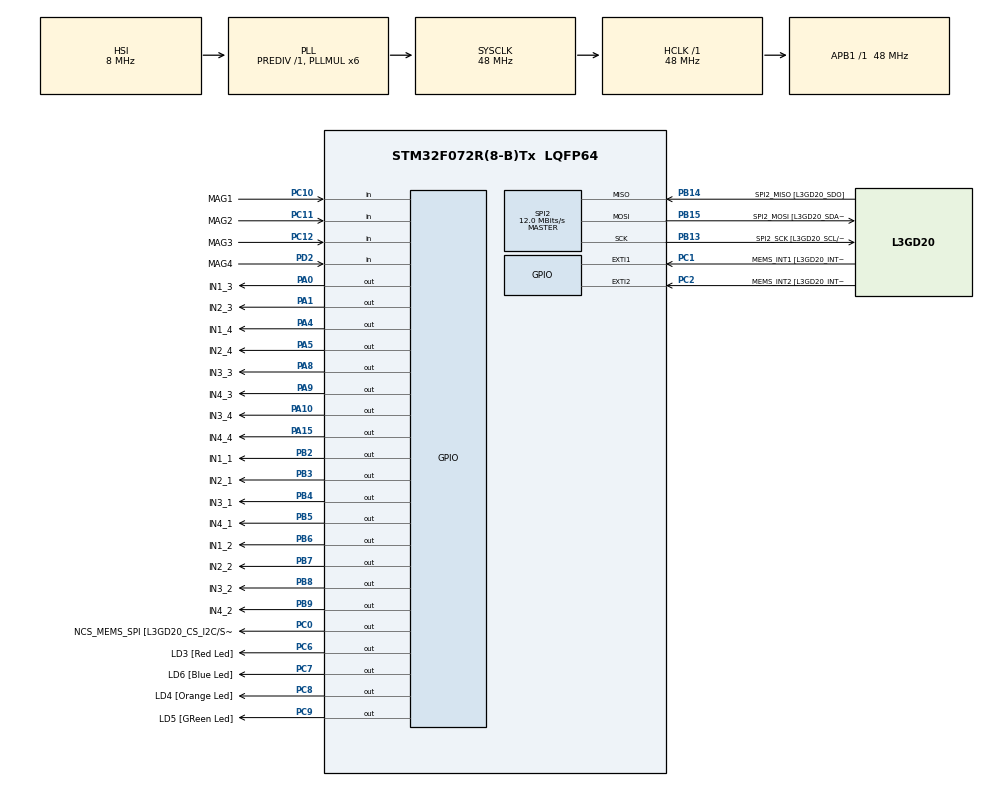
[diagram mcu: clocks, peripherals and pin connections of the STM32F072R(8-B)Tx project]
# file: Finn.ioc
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Mcu.Family=STM32F0
Mcu.Name=STM32F072R(8-B)Tx
Mcu.Package=LQFP64
PA0.GPIO_Label=IN1_3
PA0.Signal=GPIO_Output
PA1.GPIO_Label=IN2_3
PA1.Signal=GPIO_Output
PA10.GPIO_Label=IN3_4
PA10.Signal=GPIO_Output
PA13.Mode=Serial_Wire
PA13.Signal=SYS_SWDIO
PA14.Mode=Serial_Wire
PA14.Signal=SYS_SWCLK
PA15.GPIO_Label=IN4_4
PA15.Signal=GPIO_Output
PA4.GPIO_Label=IN1_4
PA4.Signal=GPIO_Output
PA5.GPIO_Label=IN2_4
PA5.Signal=GPIO_Output
PA8.GPIO_Label=IN3_3
PA8.Signal=GPIO_Output
PA9.GPIO_Label=IN4_3
PA9.Signal=GPIO_Output
PB13.GPIO_Label=SPI2_SCK [L3GD20_SCL/SPC]
PB13.Mode=Full_Duplex_Master
PB13.Signal=SPI2_SCK
PB14.GPIO_Label=SPI2_MISO [L3GD20_SDO]
PB14.Mode=Full_Duplex_Master
PB14.Signal=SPI2_MISO
PB15.GPIO_Label=SPI2_MOSI [L3GD20_SDA/SDI]
PB15.Mode=Full_Duplex_Master
PB15.Signal=SPI2_MOSI
PB2.GPIO_Label=IN1_1
PB2.Signal=GPIO_Output
PB3.GPIO_Label=IN2_1
PB3.Signal=GPIO_Output
PB4.GPIO_Label=IN3_1
PB4.Signal=GPIO_Output
PB5.GPIO_Label=IN4_1
PB5.Signal=GPIO_Output
PB6.GPIO_Label=IN1_2
PB6.Signal=GPIO_Output
PB7.GPIO_Label=IN2_2
PB7.Signal=GPIO_Output
PB8.GPIO_Label=IN3_2
PB8.Signal=GPIO_Output
PB9.GPIO_Label=IN4_2
PB9.Signal=GPIO_Output
PC0.GPIO_Label=NCS_MEMS_SPI [L3GD20_CS_I2C/SPI]
PC0.Signal=GPIO_Output
PC1.GPIO_Label=MEMS_INT1 [L3GD20_INT1]
PC1.GPIO_ModeDefaultEXTI=GPIO_MODE_EVT_RISING
PC1.Signal=GPXTI1
PC10.GPIO_Label=MAG1
PC10.Signal=GPIO_Input
PC11.GPIO_Label=MAG2
PC11.Signal=GPIO_Input
PC12.GPIO_Label=MAG3
PC12.Signal=GPIO_Input
PC2.GPIO_Label=MEMS_INT2 [L3GD20_INT2]
PC2.GPIO_ModeDefaultEXTI=GPIO_MODE_EVT_RISING
PC2.Signal=GPXTI2
PC6.GPIO_Label=LD3 [Red Led]
PC6.Signal=GPIO_Output
PC7.GPIO_Label=LD6 [Blue Led]
PC7.Signal=GPIO_Output
PC8.GPIO_Label=LD4 [Orange Led]
PC8.Signal=GPIO_Output
PC9.GPIO_Label=LD5 [GReen Led]
PC9.Signal=GPIO_Output
PD2.GPIO_Label=MAG4
PD2.Signal=GPIO_Input
ProjectManager.HeapSize=0x200
ProjectManager.StackSize=0x400
ProjectManager.TargetToolchain=EWARM V8.32
RCC.AHBFreq_Value=48000000
RCC.APB1Freq_Value=48000000
RCC.APB1TimFreq_Value=48000000
RCC.HCLKFreq_Value=48000000
RCC.PLLMUL=RCC_PLL_MUL6
RCC.SYSCLKFreq_VALUE=48000000
RCC.SYSCLKSource=RCC_SYSCLKSOURCE_PLLCLK
SPI2.BaudRatePrescaler=SPI_BAUDRATEPRESCALER_4
SPI2.CalculateBaudRate=12.0 MBits/s
SPI2.Direction=SPI_DIRECTION_2LINES
SPI2.Mode=SPI_MODE_MASTER
SPI2.VirtualType=VM_MASTER
board=STM32F072B-DISCO

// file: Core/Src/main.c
/* USER CODE BEGIN Header */
/**
  ******************************************************************************
  * @file           : main.c
  * @brief          : Main program body
  ******************************************************************************
  * @attention
  *
  * <h2><center>&copy; Copyright (c) 2022 STMicroelectronics.
  * All rights reserved.</center></h2>
  *
  * This software component is licensed by ST under BSD 3-Clause license,
  * the "License"; You may not use this file except in compliance with the
  * License. You may obtain a copy of the License at:
  *                        opensource.org/licenses/BSD-3-Clause
  *
  ******************************************************************************
  */
/* USER CODE END Header */
#include "main.h"

/* USER CODE BEGIN Includes */
#define deg90 128
#define Minute_Ones 0
#define Minute_Tens 1
#define Hour_Ones 2
#define Hour_Tens 3
/* USER CODE END Includes */

/* USER CODE BEGIN PTD */
enum step{ONE, TWO, THREE, FOUR};

typedef struct
{
  int seconds;
  int minutes;
  int hours;

} time;
typedef struct {
  GPIO_TypeDef* gpiox;
  uint16_t GPIO_Pin;
} MotorPinTypeDef;
typedef struct {
  GPIO_TypeDef* MotorPort;
  uint16_t MotorPin1;
  uint16_t MotorPin2;
  uint16_t MotorPin3;
  uint16_t MotorPin4;
  int move_flag;
  int steps_to_move;
  enum step curr_step;
  MotorPinTypeDef HAL_Port;
  GPIO_PinState last_pinstate;
  int step_past_0;
  int past_magnet;
  int steps_past_magnet;
} Motor_TypeDef;

/* USER CODE END PTD */

SPI_HandleTypeDef hspi2;

/* USER CODE BEGIN PV */
int flag = 0;
int StepCount;
time tm;
Motor_TypeDef Motors[4];
int milliseconds;
int stepFlag = 0;
GPIO_PinState lastPosition1;
/* USER CODE END PV */

void SystemClock_Config(void);
static void MX_GPIO_Init(void);
static void MX_SPI2_Init(void);
void resetToZero(int i);
void step(void);

/* USER CODE BEGIN 0 */
void initStep(int steps, int id) {
  Motors[id].steps_to_move = steps;
  Motors[id].move_flag = 1;
}

void resetToZero(int i) {
  while (Motors[i].last_pinstate == HAL_GPIO_ReadPin(Motors[i].HAL_Port.gpiox, Motors[i].HAL_Port.GPIO_Pin)) {
      initStep(4, i);
      step();
      HAL_Delay(1);
      step();
      HAL_Delay(1);
      step();
      HAL_Delay(1);
      step();
      HAL_Delay(1);
    }
    Motors[i].last_pinstate = HAL_GPIO_ReadPin(Motors[i].HAL_Port.gpiox, Motors[i].HAL_Port.GPIO_Pin);
    Motors[i].past_magnet = 1;
    Motors[i].steps_past_magnet = 0;
}

void step(void) {
  for (int i = 0; i < 4; i++) {
    if (Motors[i].move_flag == 1) {
       switch(Motors[i].curr_step)
    {
      case ONE:
        HAL_GPIO_WritePin(Motors[i].MotorPort, Motors[i].MotorPin1, GPIO_PIN_SET);
        HAL_GPIO_WritePin(Motors[i].MotorPort, Motors[i].MotorPin2, GPIO_PIN_SET);
        HAL_GPIO_WritePin(Motors[i].MotorPort, Motors[i].MotorPin3, GPIO_PIN_RESET);
        HAL_GPIO_WritePin(Motors[i].MotorPort, Motors[i].MotorPin4, GPIO_PIN_RESET);
        Motors[i].curr_step = TWO;
        break;

      case TWO:
        HAL_GPIO_WritePin(Motors[i].MotorPort, Motors[i].MotorPin1, GPIO_PIN_RESET);
        HAL_GPIO_WritePin(Motors[i].MotorPort, Motors[i].MotorPin2, GPIO_PIN_SET);
        HAL_GPIO_WritePin(Motors[i].MotorPort, Motors[i].MotorPin3, GPIO_PIN_SET);
        HAL_GPIO_WritePin(Motors[i].MotorPort, Motors[i].MotorPin4, GPIO_PIN_RESET);
        Motors[i].curr_step = THREE;
        break;

      case THREE:
        HAL_GPIO_WritePin(Motors[i].MotorPort, Motors[i].MotorPin1, GPIO_PIN_RESET);
        HAL_GPIO_WritePin(Motors[i].MotorPort, Motors[i].MotorPin2, GPIO_PIN_RESET);
        HAL_GPIO_WritePin(Motors[i].MotorPort, Motors[i].MotorPin3, GPIO_PIN_SET);
        HAL_GPIO_WritePin(Motors[i].MotorPort, Motors[i].MotorPin4, GPIO_PIN_SET);
        Motors[i].curr_step = FOUR;
        break;

      case FOUR:
        HAL_GPIO_WritePin(Motors[i].MotorPort, Motors[i].MotorPin1, GPIO_PIN_SET);
        HAL_GPIO_WritePin(Motors[i].MotorPort, Motors[i].MotorPin2, GPIO_PIN_RESET);
        HAL_GPIO_WritePin(Motors[i].MotorPort, Motors[i].MotorPin3, GPIO_PIN_RESET);
        HAL_GPIO_WritePin(Motors[i].MotorPort, Motors[i].MotorPin4, GPIO_PIN_SET);
        Motors[i].curr_step = ONE;
        Motors[i].steps_to_move--;
        if (Motors[i].past_magnet == 1) {
          Motors[i].steps_past_magnet++;
        }
        if (Motors[i].steps_past_magnet >= deg90 && Motors[i].steps_to_move <= 0) {
          Motors[i].last_pinstate = HAL_GPIO_ReadPin(Motors[i].HAL_Port.gpiox, Motors[i].HAL_Port.GPIO_Pin);
          resetToZero(i);
        }
        if(Motors[i].steps_to_move <= 0) {
          Motors[i].move_flag = 0;
        }
        break;
      }

    }
  }
}

void checkPosition(int id) {
  if (Motors[id].past_magnet == 1) {
    return;
  }

  if (Motors[id].last_pinstate != HAL_GPIO_ReadPin(Motors[id].HAL_Port.gpiox, Motors[id].HAL_Port.GPIO_Pin)) {
      Motors[id].last_pinstate = HAL_GPIO_ReadPin(Motors[id].HAL_Port.gpiox, Motors[id].HAL_Port.GPIO_Pin);
      initStep(deg90, id);
  }

}

/* USER CODE END 0 */

int main(void)
{
  /* USER CODE BEGIN 1 */
  milliseconds = 0;
  tm.seconds = 0;
  tm.minutes = 0;
  tm.hours = 0;

  /* USER CODE END 1 */

  /* MCU Configuration--------------------------------------------------------*/

  /* Reset of all peripherals, Initializes the Flash interface and the Systick. */
  HAL_Init();

  /* Configure the system clock */
  SystemClock_Config();

  /* Initialize all configured peripherals */
  MX_GPIO_Init();
  MX_SPI2_Init();
  /* USER CODE BEGIN 2 */

    Motors[Minute_Ones].MotorPort = GPIOB;
  Motors[Minute_Ones].MotorPin1 = IN1_1_Pin;
  Motors[Minute_Ones].MotorPin2 = IN2_1_Pin;
  Motors[Minute_Ones].MotorPin3 = IN3_1_Pin;
  Motors[Minute_Ones].MotorPin4 = IN4_1_Pin;
  Motors[Minute_Ones].move_flag = 0;
  Motors[Minute_Ones].steps_to_move = 0;
  Motors[Minute_Ones].curr_step = ONE;
  Motors[Minute_Ones].HAL_Port.gpiox = GPIOC;
  Motors[Minute_Ones].HAL_Port.GPIO_Pin = MAG1_Pin;
  Motors[Minute_Ones].last_pinstate = HAL_GPIO_ReadPin(Motors[Minute_Ones].HAL_Port.gpiox, Motors[Minute_Ones].HAL_Port.GPIO_Pin);
  Motors[Minute_Ones].step_past_0 = 0;

  Motors[Minute_Tens].MotorPort = GPIOB;
  Motors[Minute_Tens].MotorPin1 = IN1_2_Pin;
  Motors[Minute_Tens].MotorPin2 = IN2_2_Pin;
  Motors[Minute_Tens].MotorPin3 = IN3_2_Pin;
  Motors[Minute_Tens].MotorPin4 = IN4_2_Pin;
  Motors[Minute_Tens].move_flag = 0;
  Motors[Minute_Tens].steps_to_move = 0;
  Motors[Minute_Tens].curr_step = ONE;
  Motors[Minute_Tens].HAL_Port.gpiox = GPIOC;
  Motors[Minute_Tens].HAL_Port.GPIO_Pin = MAG2_Pin;
  Motors[Minute_Tens].last_pinstate = HAL_GPIO_ReadPin(Motors[Minute_Tens].HAL_Port.gpiox, Motors[Minute_Tens].HAL_Port.GPIO_Pin);
  Motors[Minute_Tens].step_past_0 = 0;

  Motors[Hour_Ones].MotorPort = GPIOA;
  Motors[Hour_Ones].MotorPin1 = IN1_3_Pin;
  Motors[Hour_Ones].MotorPin2 = IN2_3_Pin;
  Motors[Hour_Ones].MotorPin3 = IN3_3_Pin;
  Motors[Hour_Ones].MotorPin4 = IN4_3_Pin;
  Motors[Hour_Ones].move_flag = 0;
  Motors[Hour_Ones].steps_to_move = 0;
  Motors[Hour_Ones].curr_step = ONE;
  Motors[Hour_Ones].HAL_Port.gpiox = GPIOC;
  Motors[Hour_Ones].HAL_Port.GPIO_Pin = MAG3_Pin;
  Motors[Hour_Ones].last_pinstate = HAL_GPIO_ReadPin(Motors[Hour_Ones].HAL_Port.gpiox, Motors[Hour_Ones].HAL_Port.GPIO_Pin);
  Motors[Hour_Ones].step_past_0 = 0;

  Motors[Hour_Tens].MotorPort = GPIOA;
  Motors[Hour_Tens].MotorPin1 = IN1_4_Pin;
  Motors[Hour_Tens].MotorPin2 = IN2_4_Pin;
  Motors[Hour_Tens].MotorPin3 = IN3_4_Pin;
  Motors[Hour_Tens].MotorPin4 = IN4_4_Pin;
  Motors[Hour_Tens].move_flag = 0;
  Motors[Hour_Tens].steps_to_move = 0;
  Motors[Hour_Tens].curr_step = ONE;
  Motors[Hour_Tens].HAL_Port.gpiox = GPIOD;
  Motors[Hour_Tens].HAL_Port.GPIO_Pin = MAG4_Pin;
  Motors[Hour_Tens].last_pinstate = HAL_GPIO_ReadPin(Motors[Hour_Tens].HAL_Port.gpiox, Motors[Hour_Tens].HAL_Port.GPIO_Pin);
  Motors[Hour_Tens].step_past_0 = 0;
//        initStep(deg90 + 1, 0);
//      initStep(deg90 + 1, 1);
//      initStep(deg90 + 1, 2);
//      initStep(deg90 + 1, 3);

  for (uint8_t i = 0; i < 4; i++) {
    resetToZero(i);
  }
  /* USER CODE END 2 */

  /* Infinite loop */
  while (1)
  {

    /* USER CODE BEGIN 3 */
    if (milliseconds >= 1000) {
      tm.seconds++;
      milliseconds = 0;
    }
    if (tm.seconds >= 5) {

      if (Motors[0].steps_to_move == 0) {
        initStep(deg90/10 + 1, 0);
      }
      if (Motors[1].steps_to_move == 0) {
        initStep(deg90/10 + 1, 1);
      }
      if (Motors[2].steps_to_move == 0) {
        initStep(deg90/10 + 1, 2);
      }
      if (Motors[3].steps_to_move == 0) {
        initStep(deg90/10 + 1, 3);
      }

//      if (flag != 1) {
//
//        initStep(deg90/10 + 1, 1);
//        initStep(deg90/10 + 1, 2);
//        initStep(deg90/10 + 1, 3);
//      }
      tm.minutes++;
      tm.seconds = 0;
    }
    if (tm.seconds == 59) {

      tm.minutes++;
      tm.seconds = 0;
    }
    if (tm.minutes == 59) {
      tm.hours++;
      tm.minutes = 0;
      tm.seconds = 0;
    }
    if (tm.hours == 23) {
      tm.hours = 0;
      tm.minutes = 0;
      tm.seconds = 0;
    }

    HAL_Delay(1);

    for (uint8_t j = 0; j < 4; j++) {
      checkPosition(j);
    }
    step();
  }
  /* USER CODE END 3 */
}

void SystemClock_Config(void)
{
  RCC_OscInitTypeDef RCC_OscInitStruct = {0};
  RCC_ClkInitTypeDef RCC_ClkInitStruct = {0};

  /** Initializes the RCC Oscillators according to the specified parameters
  * in the RCC_OscInitTypeDef structure.
  */
  RCC_OscInitStruct.OscillatorType = RCC_OSCILLATORTYPE_HSI;
  RCC_OscInitStruct.HSIState = RCC_HSI_ON;
  RCC_OscInitStruct.HSICalibrationValue = RCC_HSICALIBRATION_DEFAULT;
  RCC_OscInitStruct.PLL.PLLState = RCC_PLL_ON;
  RCC_OscInitStruct.PLL.PLLSource = RCC_PLLSOURCE_HSI;
  RCC_OscInitStruct.PLL.PLLMUL = RCC_PLL_MUL6;
  RCC_OscInitStruct.PLL.PREDIV = RCC_PREDIV_DIV1;
  if (HAL_RCC_OscConfig(&RCC_OscInitStruct) != HAL_OK)
  {
    Error_Handler();
  }
  /** Initializes the CPU, AHB and APB buses clocks
  */
  RCC_ClkInitStruct.ClockType = RCC_CLOCKTYPE_HCLK|RCC_CLOCKTYPE_SYSCLK
                              |RCC_CLOCKTYPE_PCLK1;
  RCC_ClkInitStruct.SYSCLKSource = RCC_SYSCLKSOURCE_PLLCLK;
  RCC_ClkInitStruct.AHBCLKDivider = RCC_SYSCLK_DIV1;
  RCC_ClkInitStruct.APB1CLKDivider = RCC_HCLK_DIV1;

  if (HAL_RCC_ClockConfig(&RCC_ClkInitStruct, FLASH_LATENCY_1) != HAL_OK)
  {
    Error_Handler();
  }
}

static void MX_SPI2_Init(void)
{

  /* SPI2 parameter configuration*/
  hspi2.Instance = SPI2;
  hspi2.Init.Mode = SPI_MODE_MASTER;
  hspi2.Init.Direction = SPI_DIRECTION_2LINES;
  hspi2.Init.DataSize = SPI_DATASIZE_4BIT;
  hspi2.Init.CLKPolarity = SPI_POLARITY_LOW;
  hspi2.Init.CLKPhase = SPI_PHASE_1EDGE;
  hspi2.Init.NSS = SPI_NSS_SOFT;
  hspi2.Init.BaudRatePrescaler = SPI_BAUDRATEPRESCALER_4;
  hspi2.Init.FirstBit = SPI_FIRSTBIT_MSB;
  hspi2.Init.TIMode = SPI_TIMODE_DISABLE;
  hspi2.Init.CRCCalculation = SPI_CRCCALCULATION_DISABLE;
  hspi2.Init.CRCPolynomial = 7;
  hspi2.Init.CRCLength = SPI_CRC_LENGTH_DATASIZE;
  hspi2.Init.NSSPMode = SPI_NSS_PULSE_ENABLE;
  if (HAL_SPI_Init(&hspi2) != HAL_OK)
  {
    Error_Handler();
  }

}

static void MX_GPIO_Init(void)
{
  GPIO_InitTypeDef GPIO_InitStruct = {0};

  /* GPIO Ports Clock Enable */
  __HAL_RCC_GPIOC_CLK_ENABLE();
  __HAL_RCC_GPIOA_CLK_ENABLE();
  __HAL_RCC_GPIOB_CLK_ENABLE();
  __HAL_RCC_GPIOD_CLK_ENABLE();

  /*Configure GPIO pin Output Level */
  HAL_GPIO_WritePin(GPIOC, NCS_MEMS_SPI_Pin|LD3_Pin|LD6_Pin|LD4_Pin
                          |LD5_Pin, GPIO_PIN_RESET);

  /*Configure GPIO pin Output Level */
  HAL_GPIO_WritePin(GPIOA, IN1_3_Pin|IN2_3_Pin|IN1_4_Pin|IN2_4_Pin
                          |IN3_3_Pin|IN4_3_Pin|IN3_4_Pin|IN4_4_Pin, GPIO_PIN_RESET);

  /*Configure GPIO pin Output Level */
  HAL_GPIO_WritePin(GPIOB, IN1_1_Pin|IN2_1_Pin|IN3_1_Pin|IN4_1_Pin
                          |IN1_2_Pin|IN2_2_Pin|IN3_2_Pin|IN4_2_Pin, GPIO_PIN_RESET);

  /*Configure GPIO pins : NCS_MEMS_SPI_Pin LD3_Pin LD6_Pin LD4_Pin
                           LD5_Pin */
  GPIO_InitStruct.Pin = NCS_MEMS_SPI_Pin|LD3_Pin|LD6_Pin|LD4_Pin
                          |LD5_Pin;
  GPIO_InitStruct.Mode = GPIO_MODE_OUTPUT_PP;
  GPIO_InitStruct.Pull = GPIO_NOPULL;
  GPIO_InitStruct.Speed = GPIO_SPEED_FREQ_LOW;
  HAL_GPIO_Init(GPIOC, &GPIO_InitStruct);

  /*Configure GPIO pins : MEMS_INT1_Pin MEMS_INT2_Pin */
  GPIO_InitStruct.Pin = MEMS_INT1_Pin|MEMS_INT2_Pin;
  GPIO_InitStruct.Mode = GPIO_MODE_EVT_RISING;
  GPIO_InitStruct.Pull = GPIO_NOPULL;
  HAL_GPIO_Init(GPIOC, &GPIO_InitStruct);

  /*Configure GPIO pins : IN1_3_Pin IN2_3_Pin IN1_4_Pin IN2_4_Pin
                           IN3_3_Pin IN4_3_Pin IN3_4_Pin IN4_4_Pin */
  GPIO_InitStruct.Pin = IN1_3_Pin|IN2_3_Pin|IN1_4_Pin|IN2_4_Pin
                          |IN3_3_Pin|IN4_3_Pin|IN3_4_Pin|IN4_4_Pin;
  GPIO_InitStruct.Mode = GPIO_MODE_OUTPUT_PP;
  GPIO_InitStruct.Pull = GPIO_NOPULL;
  GPIO_InitStruct.Speed = GPIO_SPEED_FREQ_LOW;
  HAL_GPIO_Init(GPIOA, &GPIO_InitStruct);

  /*Configure GPIO pins : IN1_1_Pin IN2_1_Pin IN3_1_Pin IN4_1_Pin
                           IN1_2_Pin IN2_2_Pin IN3_2_Pin IN4_2_Pin */
  GPIO_InitStruct.Pin = IN1_1_Pin|IN2_1_Pin|IN3_1_Pin|IN4_1_Pin
                          |IN1_2_Pin|IN2_2_Pin|IN3_2_Pin|IN4_2_Pin;
  GPIO_InitStruct.Mode = GPIO_MODE_OUTPUT_PP;
  GPIO_InitStruct.Pull = GPIO_NOPULL;
  GPIO_InitStruct.Speed = GPIO_SPEED_FREQ_LOW;
  HAL_GPIO_Init(GPIOB, &GPIO_InitStruct);

  /*Configure GPIO pins : MAG1_Pin MAG2_Pin MAG3_Pin */
  GPIO_InitStruct.Pin = MAG1_Pin|MAG2_Pin|MAG3_Pin;
  GPIO_InitStruct.Mode = GPIO_MODE_INPUT;
  GPIO_InitStruct.Pull = GPIO_NOPULL;
  HAL_GPIO_Init(GPIOC, &GPIO_InitStruct);

  /*Configure GPIO pin : MAG4_Pin */
  GPIO_InitStruct.Pin = MAG4_Pin;
  GPIO_InitStruct.Mode = GPIO_MODE_INPUT;
  GPIO_InitStruct.Pull = GPIO_NOPULL;
  HAL_GPIO_Init(MAG4_GPIO_Port, &GPIO_InitStruct);

}

void Error_Handler(void)
{
  __disable_irq();
  while (1)
  {
  }
}

/************************ (C) COPYRIGHT STMicroelectronics *****END OF FILE****/
